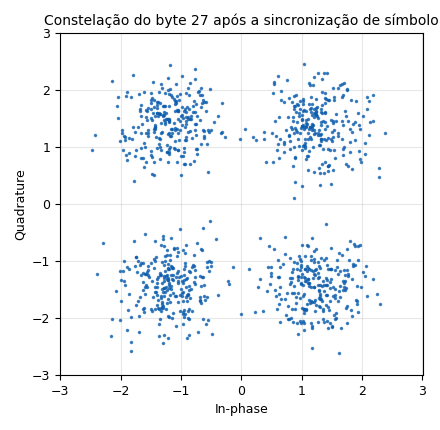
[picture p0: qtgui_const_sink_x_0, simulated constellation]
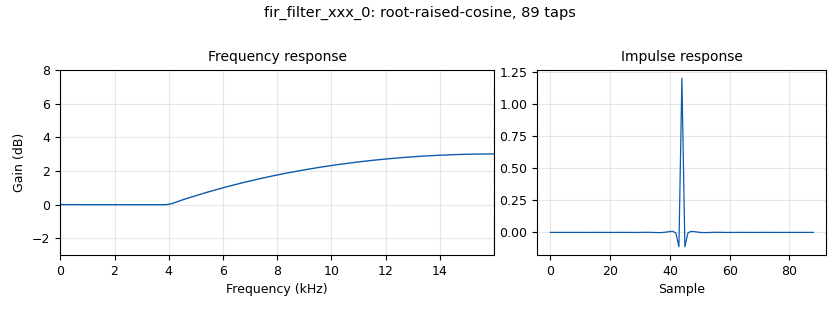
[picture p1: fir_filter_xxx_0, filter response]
options:
  parameters:
    generate_options: qt_gui
    id: mdQPSK
    output_language: python
    title: QPSK
  states: {}

blocks:
- name: QPSK
  id: variable_constellation
  parameters:
    const_points: '[-1 -1j,-1+1j, 1+1j, 1 - 1j]'
    dims: '1'
    normalization: digital.constellation.NO_NORMALIZATION
    precision: '8'
    rot_sym: '2'
    sym_map: '[0, 1, 3, 2]'
    type: calcdist
  states: {}
- name: TEDKp
  id: variable
  parameters:
    value: '4.3415'
  states: {}
- name: rolloff
  id: variable
  parameters:
    value: '0.75'
  states: {}
- name: rrc_taps
  id: variable
  parameters:
    value: firdes.root_raised_cosine(1.0,samp_rate,samp_rate,rolloff,11*sps)
  states: {}
- name: samp_rate
  id: variable
  parameters:
    value: '32000'
  states: {}
- name: sps
  id: variable
  parameters:
    value: '8'
  states: {}
- name: blocks_complex_to_imag_0
  id: blocks_complex_to_imag
  parameters: {}
  states: {}
- name: blocks_complex_to_real_0
  id: blocks_complex_to_real
  parameters: {}
  states: {}
- name: blocks_file_sink_0
  id: blocks_file_sink
  parameters:
    file: sent.dat
    type: byte
    unbuffered: 'True'
  states: {}
- name: blocks_file_sink_0_0
  id: blocks_file_sink
  parameters:
    file: received.dat
    type: byte
    unbuffered: 'True'
  states: {}
- name: blocks_interleave_0
  id: blocks_interleave
  parameters:
    type: byte
  states: {}
- name: blocks_null_sink_0
  id: blocks_null_sink
  parameters:
    type: byte
  states: {state: disabled}
- name: blocks_pack_k_bits_bb_0
  id: blocks_pack_k_bits_bb
  parameters:
    k: '8'
  states: {}
- name: blocks_throttle_0
  id: blocks_throttle
  parameters:
    samples_per_second: samp_rate
    type: complex
  states: {}
- name: blocks_vector_source_x_0
  id: blocks_vector_source_x
  parameters:
    repeat: 'True'
    type: byte
    vector: '[27]'
  states: {}
- name: channels_channel_model_0
  id: channels_channel_model
  parameters:
    epsilon: '1.0'
    freq_offset: '0.0'
    noise_voltage: '0.5'
    seed: '0'
    taps: '1.0 '
  states: {}
- name: digital_binary_slicer_fb_0_0
  id: digital_binary_slicer_fb
  parameters: {}
  states: {}
- name: digital_binary_slicer_fb_0_0_0
  id: digital_binary_slicer_fb
  parameters: {}
  states: {}
- name: digital_constellation_modulator_0
  id: digital_constellation_modulator
  parameters:
    constellation: QPSK
    differential: 'False'
    excess_bw: rolloff
    samples_per_symbol: sps
  states: {}
- name: digital_symbol_sync_xx_0
  id: digital_symbol_sync_xx
  parameters:
    damping: '1.0'
    loop_bw: '0.025'
    max_dev: '1.5'
    osps: '1'
    resamp_type: digital.IR_MMSE_8TAP
    sps: sps
    ted_gain: '4.3415'
    ted_type: digital.TED_SIGNAL_TIMES_SLOPE_ML
    type: cc
  states: {}
- name: fir_filter_xxx_0
  id: fir_filter_xxx
  parameters:
    decim: '1'
    taps: rrc_taps
    type: ccc
  states: {}
- name: qtgui_const_sink_x_0
  id: qtgui_const_sink_x
  parameters:
    autoscale: 'True'
    color1: '"black"'
    grid: 'True'
    marker1: '2'
    name: '"Constelação do byte 27 após a sincronização de símbolo"'
    size: '1024'
    type: complex
  states: {}
- name: qtgui_time_sink_x_0
  id: qtgui_time_sink_x
  parameters:
    autoscale: 'True'
    color1: black
    grid: 'True'
    label1: Fase
    label2: Quadratura
    name: '"Sinal após a sincronização de símbolo"'
    size: '1024'
    srate: samp_rate
    style1: '4'
    type: complex
  states: {state: disabled}
- name: virtual_sink_0
  id: virtual_sink
  parameters:
    stream_id: pre_detection
  states: {}
- name: virtual_source_0
  id: virtual_source
  parameters:
    stream_id: pre_detection
  states: {}

connections:
- [blocks_complex_to_imag_0, '0', digital_binary_slicer_fb_0_0, '0']
- [blocks_complex_to_real_0, '0', digital_binary_slicer_fb_0_0_0, '0']
- [blocks_interleave_0, '0', blocks_pack_k_bits_bb_0, '0']
- [blocks_pack_k_bits_bb_0, '0', blocks_file_sink_0_0, '0']
- [blocks_pack_k_bits_bb_0, '0', blocks_null_sink_0, '0']
- [blocks_throttle_0, '0', channels_channel_model_0, '0']
- [blocks_vector_source_x_0, '0', blocks_file_sink_0, '0']
- [blocks_vector_source_x_0, '0', digital_constellation_modulator_0, '0']
- [channels_channel_model_0, '0', fir_filter_xxx_0, '0']
- [digital_binary_slicer_fb_0_0, '0', blocks_interleave_0, '1']
- [digital_binary_slicer_fb_0_0_0, '0', blocks_interleave_0, '0']
- [digital_constellation_modulator_0, '0', blocks_throttle_0, '0']
- [digital_symbol_sync_xx_0, '0', blocks_complex_to_imag_0, '0']
- [digital_symbol_sync_xx_0, '0', blocks_complex_to_real_0, '0']
- [digital_symbol_sync_xx_0, '0', qtgui_const_sink_x_0, '0']
- [digital_symbol_sync_xx_0, '0', qtgui_time_sink_x_0, '0']
- [fir_filter_xxx_0, '0', virtual_sink_0, '0']
- [virtual_source_0, '0', digital_symbol_sync_xx_0, '0']

metadata:
  file_format: 1
  grc_version: v3.11.0.0git-244-g7c7894df
